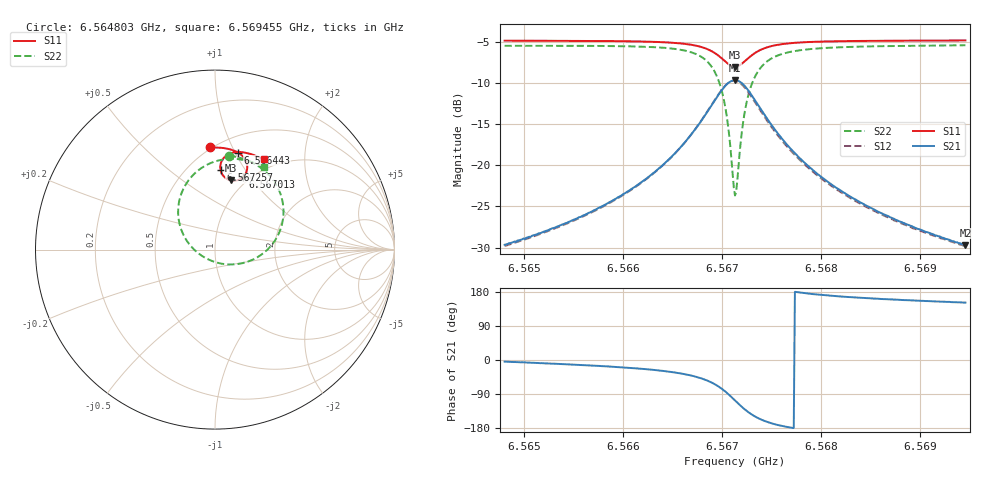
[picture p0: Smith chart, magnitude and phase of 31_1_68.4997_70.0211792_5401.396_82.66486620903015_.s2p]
#  HZ  S  RI  R  50.00
! Rohde & Schwarz Vector Network Analyzer
! Rohde-Schwarz,ZNB20-2Port,1311601062101988,3.16
! Created: UTC 3/20/2024, 4:49:55 PM
! freq[Hz]  re:S11  im:S11  re:S21  im:S21  re:S12  im:S12  re:S22  im:S22
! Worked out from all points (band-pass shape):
!   401 points, 6.564803 GHz to 6.569455 GHz, reference 50 ohm
!   highest |S21| = -9.68 dB at 6.567129 GHz (marker M1); lowest = -29.7 dB at 6.569455 GHz (marker M2)
!   |S21| within 3 dB of the highest: 6.566896 GHz to 6.567361 GHz (465.7 kHz wide, 0.00709 % of centre)
!   lowest |S11| = -8.1 dB at 6.567129 GHz (marker M3), VSWR 2.31, Z = 43 + j39.2 ohm
!   |S11| at or under -10 dB: nowhere
!   |S22| runs from -23.7 to -5.4 dB; largest |S21 - S12| = 0.017
!   S11 on the Smith chart (normalised r, x): 6.564803 GHz: 0.49, +0.83; 6.566443 GHz: 0.66, +1.03; 6.567013 GHz: 0.93, +0.93; 6.567257 GHz: 0.71, +0.78; 6.569455 GHz: 0.86, +1.28
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6.5648026e9  -0.0268 0.5689  0.0328 -0.00243  0.0323 -0.00306  0.0781 0.5241
6.5655819e9  0.0394 0.5666  0.0477 -0.0113  0.0471 -0.0119  0.1592 0.5053
6.566024e9  0.0813 0.5592  0.0638 -0.0232  0.0628 -0.024  0.2188 0.4788
6.5663613e9  0.1181 0.5461  0.0847 -0.0443  0.0836 -0.0453  0.2804 0.4355
6.5664427e9  0.1281 0.5407  0.0915 -0.0531  0.0903 -0.0542  0.2986 0.418
6.5666637e9  0.1574 0.5171  0.1133 -0.094  0.1116 -0.0962  0.3535 0.3376
6.5668382e9  0.1779 0.4774  0.1233 -0.1646  0.1199 -0.1685  0.3816 0.2013
6.5669429e9  0.1762 0.4368  0.1017 -0.2358  0.0946 -0.2409  0.3431 0.0654
6.5670127e9  0.1577 0.4058  0.0545 -0.2887  0.043 -0.2925  0.2535 -0.0317
6.5670592e9  0.134 0.3895  0.00267 -0.3146  -0.0119 -0.315  0.1557 -0.075
6.5671058e9  0.1032 0.3834  -0.0612 -0.3207  -0.0772 -0.3159  0.0387 -0.0789
6.567129e9  0.0869 0.3853  -0.0942 -0.3143  -0.1095 -0.3067  -0.0195 -0.0624
6.5671523e9  0.0715 0.3909  -0.1252 -0.3014  -0.1392 -0.2912  -0.0727 -0.0351
6.5672105e9  0.0423 0.4163  -0.1841 -0.2488  -0.1925 -0.2344  -0.168 0.0672
6.567257e9  0.0311 0.4419  -0.2078 -0.1985  -0.2116 -0.1839  -0.2008 0.1593
6.56735e9  0.0342 0.4861  -0.2096 -0.1127  -0.2074 -0.1016  -0.1886 0.3088
6.5674896e9  0.0616 0.5228  -0.1732 -0.0418  -0.1692 -0.0356  -0.1099 0.4275
6.5676525e9  0.0934 0.539  -0.1332 -0.008  -0.1298 -0.00486  -0.0272 0.4809
6.5679084e9  0.1323 0.544  -0.0936 0.00969  -0.0912 0.0111  0.0603 0.5039
6.5682574e9  0.1721 0.5395  -0.0646 0.0155  -0.0631 0.0162  0.1342 0.5035
6.5686878e9  0.2118 0.5283  -0.0456 0.0165  -0.0446 0.0169  0.1949 0.491
6.5694555e9  0.2718 0.5023  -0.0288 0.0156  -0.0281 0.0158  0.2707 0.4604
